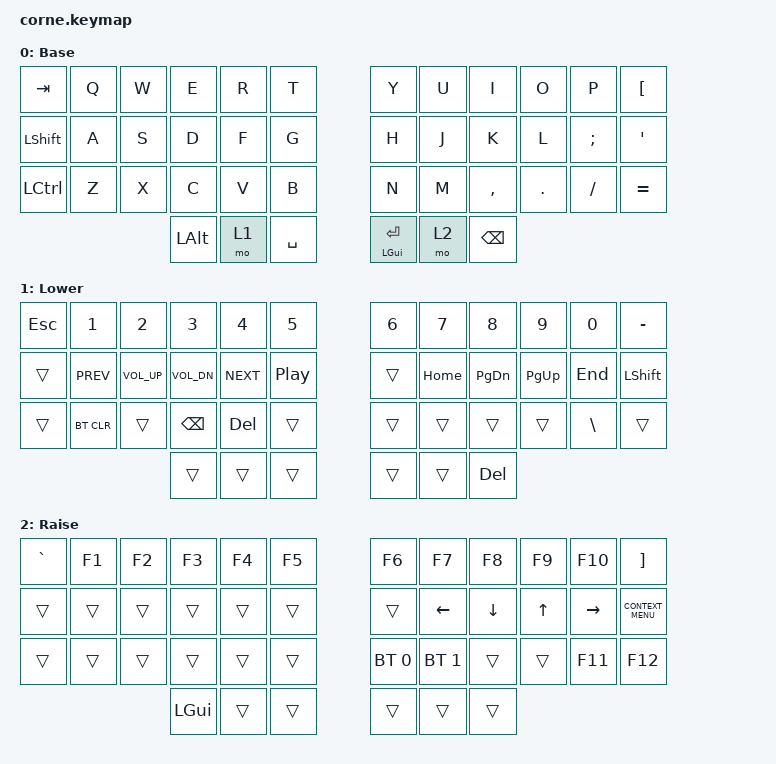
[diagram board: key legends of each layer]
/*
 * Copyright (c) 2020 The ZMK Contributors
 *
 * SPDX-License-Identifier: MIT
 */

#include <behaviors.dtsi>
#include <dt-bindings/zmk/bt.h>
#include <dt-bindings/zmk/keys.h>

/ {
    keymap {
        compatible = "zmk,keymap";

        default_layer {
            // ┌───────┬───────┬───────┬───────┬───────┬───────┐       ┌───────┬───────┬───────┬───────┬───────┬───────┐
            // │  TAB  │   Q   │   W   │   E   │   R   │   T   │       │   Y   │   U   │   I   │   O   │   P   │   [   │
            // ├───────┼───────┼───────┼───────┼───────┼───────┤       ├───────┼───────┼───────┼───────┼───────┼───────┤
            // │ SHIFT │   A   │   S   │   D   │   F   │   G   │       │   H   │   J   │   K   │   L   │   ;   │   '   │
            // ├───────┼───────┼───────┼───────┼───────┼───────┤       ├───────┼───────┼───────┼───────┼───────┼───────┤
            // │ CTRL  │   Z   │   X   │   C   │   V   │   B   │       │   N   │   M   │   ,   │   .   │   /   │   =   │
            // └───────┴───────┴───────┴───────┴───────┴───────┘       └───────┴───────┴───────┴───────┴───────┴───────┘
            //                         ┌───────┬───────┬───────┐       ┌───────┬───────┬───────┐
            //                         │  ALT  │ LOWER │ SPACE │       │GUI/ENT│ RAISE │ BSPC  │
            //                         └───────┴───────┴───────┘       └───────┴───────┴───────┘

            display-name = "Base";
            bindings = <
                &kp TAB    &kp Q  &kp W  &kp E  &kp R  &kp T        &kp Y  &kp U  &kp I      &kp O    &kp P     &kp LBKT
                &kp LSHFT  &kp A  &kp S  &kp D  &kp F  &kp G        &kp H  &kp J  &kp K      &kp L    &kp SEMI  &kp SQT
                &kp LCTRL  &kp Z  &kp X  &kp C  &kp V  &kp B        &kp N  &kp M  &kp COMMA  &kp DOT  &kp FSLH  &kp EQUAL
                                         &kp LALT  &mo 1  &kp SPACE    &mt LEFT_GUI RET  &mo 2  &kp BSPC
            >;
        };

        lower_layer {
            // ┌───────┬───────┬───────┬───────┬───────┬───────┐       ┌───────┬───────┬───────┬───────┬───────┬───────┐
            // │  ESC  │   1   │   2   │   3   │   4   │   5   │       │   6   │   7   │   8   │   9   │   0   │   -   │
            // ├───────┼───────┼───────┼───────┼───────┼───────┤       ├───────┼───────┼───────┼───────┼───────┼───────┤
            // │       │ PREV  │ VOL↑  │ VOL↓  │ NEXT  │ C_PP  │       │       │ HOME  │ PGDN  │ PGUP  │  END  │ SHFT  │
            // ├───────┼───────┼───────┼───────┼───────┼───────┤       ├───────┼───────┼───────┼───────┼───────┼───────┤
            // │       │ BTCLR │       │ BSPC  │  DEL  │       │       │       │       │       │       │   \   │       │
            // └───────┴───────┴───────┴───────┴───────┴───────┘       └───────┴───────┴───────┴───────┴───────┴───────┘
            //                         ┌───────┬───────┬───────┐       ┌───────┬───────┬───────┐
            //                         │       │       │       │       │       │       │  DEL  │
            //                         └───────┴───────┴───────┘       └───────┴───────┴───────┘

            display-name = "Lower";
            bindings = <
                &kp ESC  &kp N1      &kp N2        &kp N3        &kp N4      &kp N5        &kp N6  &kp N7    &kp N8         &kp N9       &kp N0         &kp MINUS
                &trans   &kp C_PREV  &kp C_VOL_UP  &kp C_VOL_DN  &kp C_NEXT  &kp C_PP      &trans  &kp HOME  &kp PAGE_DOWN  &kp PAGE_UP  &kp END        &kp LSHFT
                &trans   &bt BT_CLR  &trans        &kp BSPC      &kp DEL     &trans        &trans  &trans    &trans         &trans       &kp BACKSLASH  &trans
                                                   &trans        &trans      &trans        &trans  &trans    &kp DEL
            >;
        };

        raise_layer {
            // ┌───────┬───────┬───────┬───────┬───────┬───────┐       ┌───────┬───────┬───────┬───────┬───────┬───────┐
            // │   `   │  F1   │  F2   │  F3   │  F4   │  F5   │       │  F6   │  F7   │  F8   │  F9   │  F10  │   ]   │
            // ├───────┼───────┼───────┼───────┼───────┼───────┤       ├───────┼───────┼───────┼───────┼───────┼───────┤
            // │       │       │       │       │       │       │       │       │   ←   │   ↓   │   ↑   │   →   │  CTX  │
            // ├───────┼───────┼───────┼───────┼───────┼───────┤       ├───────┼───────┼───────┼───────┼───────┼───────┤
            // │       │       │       │       │       │       │       │  BT1  │  BT2  │       │       │  F11  │  F12  │
            // └───────┴───────┴───────┴───────┴───────┴───────┘       └───────┴───────┴───────┴───────┴───────┴───────┘
            //                         ┌───────┬───────┬───────┐       ┌───────┬───────┬───────┐
            //                         │ LGUI  │       │       │       │       │       │       │
            //                         └───────┴───────┴───────┘       └───────┴───────┴───────┘

            display-name = "Raise";
            bindings = <
                &kp GRAVE  &kp F1  &kp F2  &kp F3    &kp F4  &kp F5       &kp F6        &kp F7        &kp F8    &kp F9  &kp F10    &kp RBKT
                &trans     &trans  &trans  &trans    &trans  &trans       &trans        &kp LEFT      &kp DOWN  &kp UP  &kp RIGHT  &kp K_CONTEXT_MENU
                &trans     &trans  &trans  &trans    &trans  &trans       &bt BT_SEL 0  &bt BT_SEL 1  &trans    &trans  &kp F11    &kp F12
                                           &kp LGUI  &trans  &trans       &trans        &trans        &trans
            >;
        };
    };
};
